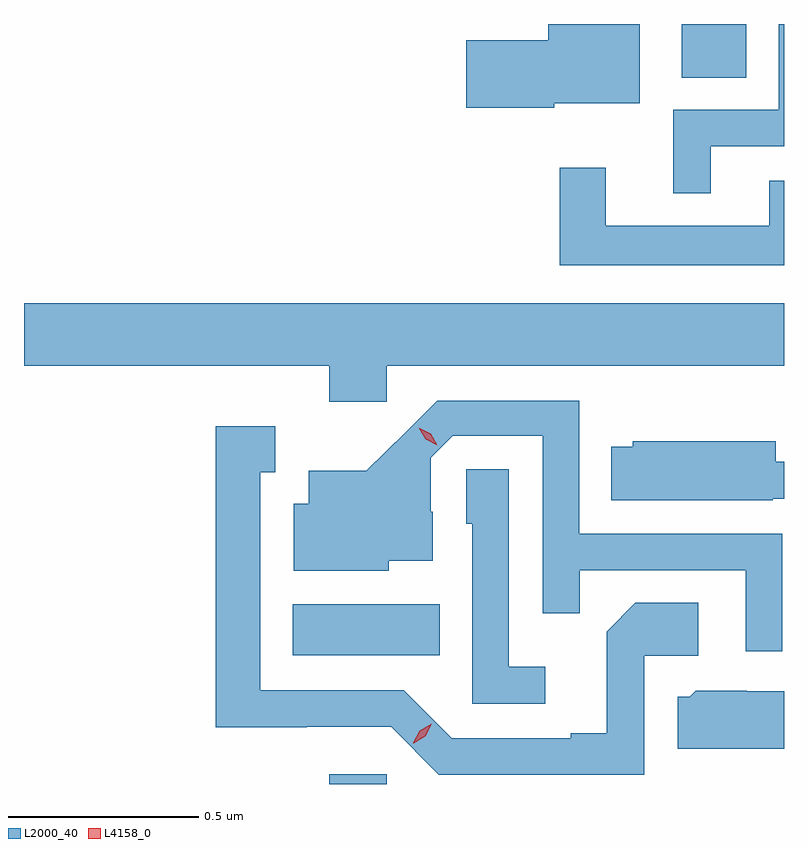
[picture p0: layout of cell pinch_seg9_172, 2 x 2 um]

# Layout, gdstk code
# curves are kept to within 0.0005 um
import gdstk
lib = gdstk.Library(unit=1e-6, precision=1e-09)
def R(c, l, rs):  # rectangles x0, y0, x1, y1
    for r in rs: c.add(gdstk.rectangle(r[:2], r[2:], *l))
def P(c, l, *ps):  # polygons
    for p in ps: c.add(gdstk.Polygon(p, *l))
L2000_40 = (2000, 40)
L4158_0 = (4158, 0)

pinch_seg9_172 = lib.new_cell('pinch_seg9_172')
R(pinch_seg9_172, L2000_40, [(645.845,1166.015,645.996,1166.041), (645.749,1166.354,646.136,1166.488), (646.773,1167.874,646.943,1168.015)])
P(pinch_seg9_172, L2000_40, [(646.849,1167.693),(647.042,1167.693),(647.042,1168.015),(647.028,1168.015),(647.028,1167.789),(646.751,1167.789),(646.751,1167.569),(646.849,1167.569)],
  [(646.437,1167.806),(646.663,1167.806),(646.663,1168.015),(646.421,1168.015),(646.421,1167.972),(646.206,1167.972),(646.206,1167.794),(646.437,1167.794)],
  [(647.042,1167.603),(647.003,1167.603),(647.003,1167.484),(646.573,1167.484),(646.573,1167.637),(646.452,1167.637),(646.452,1167.38),(647.042,1167.38)],
  [(645.996,1167.116),(647.042,1167.116),(647.042,1167.28),(645.042,1167.28),(645.042,1167.116),(645.845,1167.116),(645.845,1167.021),(645.996,1167.021)],
  [(647.037,1166.673),(646.503,1166.673),(646.503,1167.024),(646.13,1167.024),(645.943,1166.839),(645.791,1166.839),(645.791,1166.752),(645.752,1166.752),(645.752,1166.576),(646.002,1166.576),(646.002,1166.603),(646.117,1166.603),(646.117,1166.732),(646.113,1166.732),(646.113,1166.874),(646.17,1166.931),(646.407,1166.931),(646.407,1166.464),(646.505,1166.464),(646.505,1166.577),(646.941,1166.577),(646.941,1166.364),(647.037,1166.364)],
  [(646.674,1166.352),(646.816,1166.352),(646.816,1166.492),(646.651,1166.492),(646.575,1166.416),(646.575,1166.149),(646.481,1166.149),(646.481,1166.136),(646.167,1166.136),(646.041,1166.262),(645.664,1166.262),(645.664,1166.835),(645.703,1166.835),(645.703,1166.956),(645.546,1166.956),(645.546,1166.165),(645.786,1166.165),(645.786,1166.166),(646.008,1166.166),(646.134,1166.04),(646.674,1166.04)],
  [(647.012,1166.766),(647.042,1166.766),(647.042,1166.863),(647.02,1166.863),(647.02,1166.917),(646.644,1166.917),(646.644,1166.902),(646.588,1166.902),(646.588,1166.762),(647.012,1166.762)],
  [(646.414,1166.323),(646.317,1166.323),(646.317,1166.843),(646.206,1166.843),(646.206,1166.7),(646.221,1166.7),(646.221,1166.226),(646.414,1166.226)],
  [(647.042,1166.259),(646.944,1166.259),(646.944,1166.26),(646.81,1166.26),(646.794,1166.244),(646.763,1166.244),(646.763,1166.108),(647.042,1166.108)])
P(pinch_seg9_172, L4158_0, [(646.129,1166.907),(646.099,1166.922),(646.081,1166.952),(646.081,1166.952),(646.081,1166.952),(646.112,1166.937),(646.13,1166.907),(646.13,1166.907)],
  [(646.066,1166.122),(646.066,1166.123),(646.084,1166.155),(646.115,1166.174),(646.115,1166.174),(646.115,1166.174),(646.098,1166.141),(646.067,1166.122)])

lib.write_gds('pinch_seg9_172.gds')
